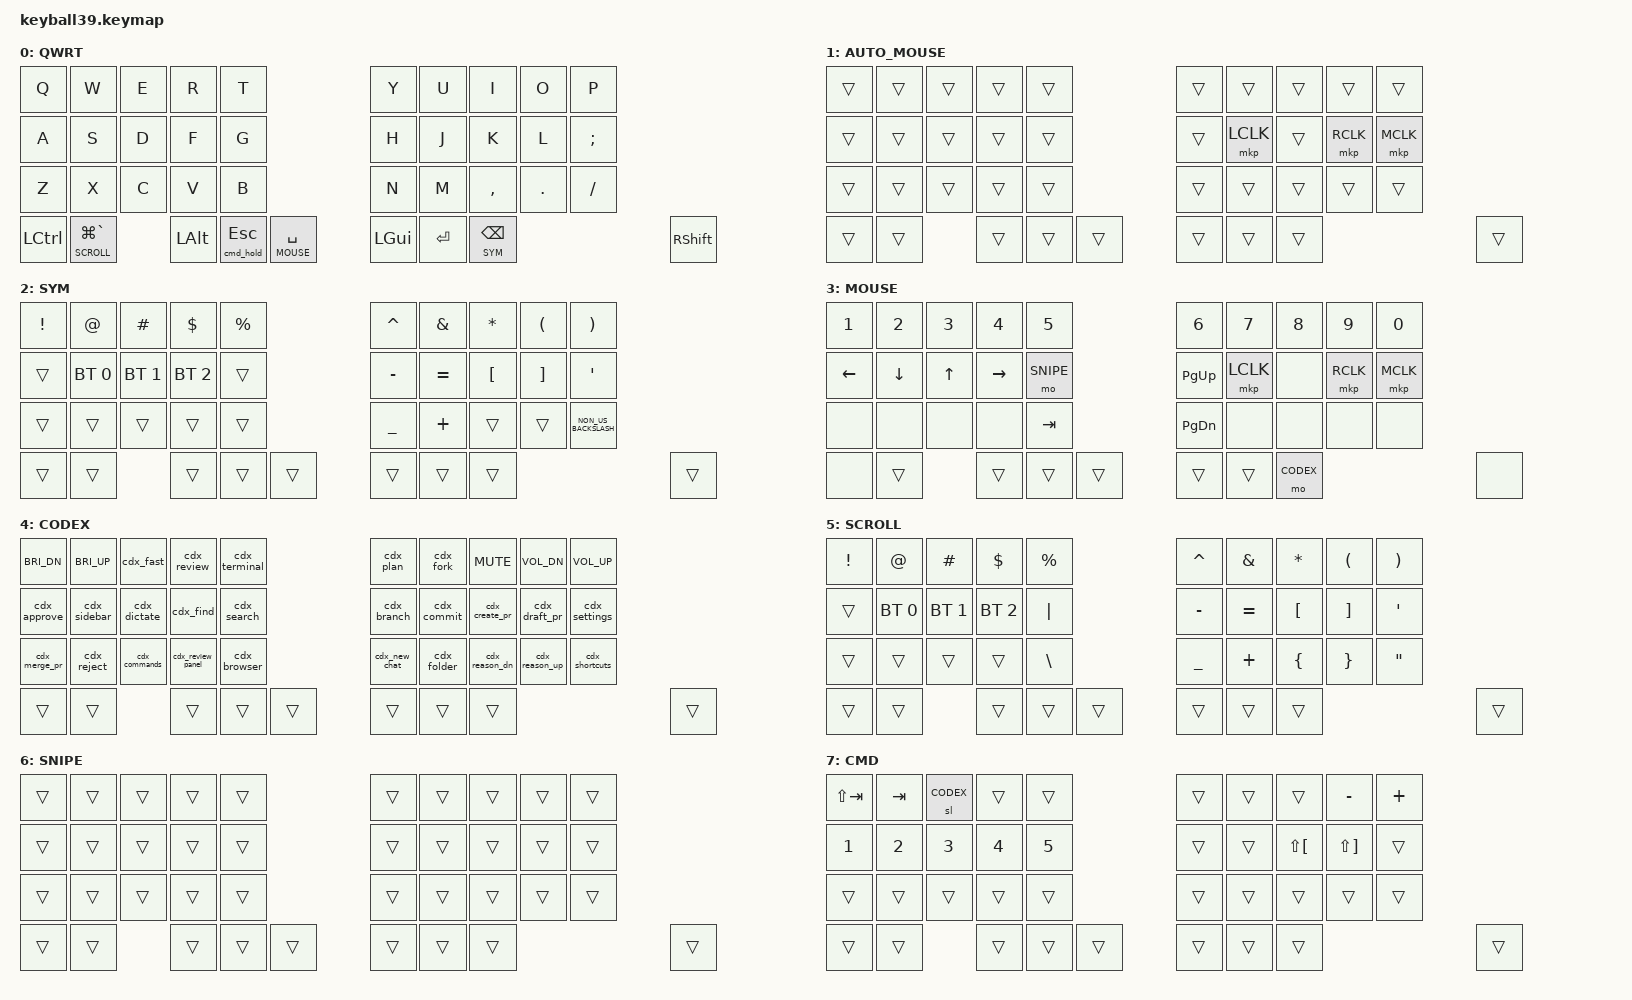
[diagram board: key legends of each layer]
#define DEFAULT 0
#define AUTO_MOUSE 1
#define SYM     2
#define MOUSE   3
#define CODEX   4
#define SCROLL  5
#define SNIPE   6
#define CMD     7

#include <behaviors/mouse_keys.dtsi>
#include <dt-bindings/zmk/mouse.h>
#include <behaviors.dtsi>
#include <dt-bindings/zmk/bt.h>
#include <dt-bindings/zmk/keys.h>

&lt {
    tapping-term-ms = <240>;
    flavor = "balanced";
    quick-tap-ms = <150>;
};

&mt {
    tapping-term-ms = <200>;
    flavor = "tap-preferred";
    quick-tap-ms = <150>;
};

&caps_word { continue-list = <UNDERSCORE MINUS>; };

/ {
    // custom shift using mod-morph 

    behaviors {
        cmqus: comma_question {
            compatible = "zmk,behavior-mod-morph";
            label = "COMMA_QUESTION";
            #binding-cells = <0>;
            bindings = <&kp COMMA>, <&kp QUESTION>;

            mods = <(MOD_LSFT|MOD_RSFT)>;
        };

        dtsmi: dot_semi {
            compatible = "zmk,behavior-mod-morph";
            label = "DOT_SEMI";
            #binding-cells = <0>;
            bindings = <&kp DOT>, <&kp SEMI>;

            mods = <(MOD_LSFT|MOD_RSFT)>;
        };

        cmd_esc: cmd_escape {
            compatible = "zmk,behavior-hold-tap";
            #binding-cells = <2>;
            flavor = "hold-preferred";
            tapping-term-ms = <200>;
            quick-tap-ms = <150>;
            bindings = <&cmd_hold>, <&kp>;
        };
    };

    macros {
        cmd_hold: cmd_hold {
            compatible = "zmk,behavior-macro";
            #binding-cells = <0>;
            wait-ms = <0>;
            tap-ms = <0>;
            bindings
                = <&macro_press &mo CMD &kp LGUI>
                , <&macro_pause_for_release>
                , <&macro_release &kp LGUI &mo CMD>
                ;
            label = "Hold CMD";
        };

        Hiragana: Hiragana {
            compatible = "zmk,behavior-macro";
            #binding-cells = <0>;
            bindings = <&kp LC(SPACE)>;
            label = "HIRAGANA";
        };

        cdx_fast: codex_fast { compatible = "zmk,behavior-macro"; #binding-cells = <0>; bindings = <&kp LC(LA(LG(F)))>; label = "Fast"; };
        cdx_review: codex_review { compatible = "zmk,behavior-macro"; #binding-cells = <0>; bindings = <&kp LC(LS(G))>; label = "Review"; };
        cdx_terminal: codex_terminal { compatible = "zmk,behavior-macro"; #binding-cells = <0>; bindings = <&kp LC(GRAVE)>; label = "Terminal"; };
        cdx_plan: codex_plan { compatible = "zmk,behavior-macro"; #binding-cells = <0>; bindings = <&kp LC(LA(LG(P)))>; label = "Plan"; };
        cdx_fork: codex_fork { compatible = "zmk,behavior-macro"; #binding-cells = <0>; bindings = <&kp LC(LA(LG(K)))>; label = "Fork"; };
        cdx_approve: codex_approve { compatible = "zmk,behavior-macro"; #binding-cells = <0>; bindings = <&kp ENTER>; label = "Approve"; };
        cdx_sidebar: codex_sidebar { compatible = "zmk,behavior-macro"; #binding-cells = <0>; bindings = <&kp LG(B)>; label = "Sidebar"; };
        cdx_dictate: codex_dictate { compatible = "zmk,behavior-macro"; #binding-cells = <0>; bindings = <&kp LC(LS(D))>; label = "Dictate"; };
        cdx_find: codex_find { compatible = "zmk,behavior-macro"; #binding-cells = <0>; bindings = <&kp LG(F)>; label = "Find"; };
        cdx_search: codex_search { compatible = "zmk,behavior-macro"; #binding-cells = <0>; bindings = <&kp LG(G)>; label = "Search"; };
        cdx_branch: codex_branch { compatible = "zmk,behavior-macro"; #binding-cells = <0>; bindings = <&kp LC(LA(LG(B)))>; label = "Branch"; };
        cdx_commit: codex_commit { compatible = "zmk,behavior-macro"; #binding-cells = <0>; bindings = <&kp LC(LA(LG(C)))>; label = "Commit"; };
        cdx_create_pr: codex_create_pr { compatible = "zmk,behavior-macro"; #binding-cells = <0>; bindings = <&kp LC(LA(LG(R)))>; label = "Create PR"; };
        cdx_draft_pr: codex_draft_pr { compatible = "zmk,behavior-macro"; #binding-cells = <0>; bindings = <&kp LC(LA(LG(D)))>; label = "Draft PR"; };
        cdx_settings: codex_settings { compatible = "zmk,behavior-macro"; #binding-cells = <0>; bindings = <&kp LG(COMMA)>; label = "Settings"; };
        cdx_merge_pr: codex_merge_pr { compatible = "zmk,behavior-macro"; #binding-cells = <0>; bindings = <&kp LC(LA(LG(M)))>; label = "Merge PR"; };
        cdx_reject: codex_reject { compatible = "zmk,behavior-macro"; #binding-cells = <0>; bindings = <&kp ESCAPE>; label = "Reject"; };
        cdx_commands: codex_commands { compatible = "zmk,behavior-macro"; #binding-cells = <0>; bindings = <&kp LG(LS(P))>; label = "Commands"; };
        cdx_review_panel: codex_review_panel { compatible = "zmk,behavior-macro"; #binding-cells = <0>; bindings = <&kp LG(LA(B))>; label = "Review Panel"; };
        cdx_browser: codex_browser { compatible = "zmk,behavior-macro"; #binding-cells = <0>; bindings = <&kp LG(T)>; label = "Browser"; };
        cdx_new_chat: codex_new_chat { compatible = "zmk,behavior-macro"; #binding-cells = <0>; bindings = <&kp LG(N)>; label = "New Chat"; };
        cdx_folder: codex_folder { compatible = "zmk,behavior-macro"; #binding-cells = <0>; bindings = <&kp LG(O)>; label = "Folder"; };
        cdx_reason_dn: codex_reason_dn { compatible = "zmk,behavior-macro"; #binding-cells = <0>; bindings = <&kp LC(LA(LG(MINUS)))>; label = "Reason Down"; };
        cdx_reason_up: codex_reason_up { compatible = "zmk,behavior-macro"; #binding-cells = <0>; bindings = <&kp LC(LA(LG(EQUAL)))>; label = "Reason Up"; };
        cdx_shortcuts: codex_shortcuts { compatible = "zmk,behavior-macro"; #binding-cells = <0>; bindings = <&kp LG(LS(SLASH))>; label = "Shortcuts"; };
    };

    combos {
        compatible = "zmk,combos";

        snipe_bootloader {
            timeout-ms = <75>;
            key-positions = <0 1>;
            layers = <SNIPE>;
            bindings = <&bootloader>;
        };

        sym_bluetooth_clear {
            timeout-ms = <75>;
            key-positions = <0 1>;
            layers = <SYM>;
            bindings = <&bt BT_CLR>;
        };

    };

    keymap {
        compatible = "zmk,keymap";

        default_layer {
            label = "QWRT";
            bindings = <
&kp Q      &kp W         &kp E     &kp R         &kp T                                    &kp Y            &kp U  &kp I      &kp O    &kp P
&kp A      &kp S         &kp D     &kp F         &kp G                                    &kp H            &kp J  &kp K      &kp L    &kp SEMI
&kp Z      &kp X         &kp C     &kp V         &kp B                                    &kp N            &kp M  &kp COMMA  &kp DOT  &kp SLASH
&kp LCTRL  &lt SCROLL LG(GRAVE)  &kp LALT       &cmd_esc 0 ESCAPE  &lt MOUSE SPACE  &kp LGUI  &kp ENTER  &lt SYM BACKSPACE                             &kp RSHFT
            >;
        };

        auto_mouse_layer {
            label = "AUTO_MOUSE";
            bindings = <
&trans  &trans  &trans  &trans  &trans                  &trans  &trans     &trans  &trans     &trans
&trans  &trans  &trans  &trans  &trans                  &trans  &mkp LCLK  &trans  &mkp RCLK  &mkp MCLK
&trans  &trans  &trans  &trans  &trans                  &trans  &trans     &trans  &trans     &trans
&trans  &trans  &trans  &trans  &trans  &trans  &trans  &trans                         &trans
            >;
        };

        symbol_layer {
            label = "SYM";
            bindings = <
&kp EXCLAMATION  &kp AT_SIGN   &kp HASH      &kp DOLLAR    &kp PERCENT                  &kp CARET       &kp AMPERSAND  &kp ASTERISK      &kp LEFT_PARENTHESIS  &kp RIGHT_PARENTHESIS
&trans           &bt BT_SEL 0  &bt BT_SEL 1  &bt BT_SEL 2  &trans                       &kp MINUS       &kp EQUAL      &kp LEFT_BRACKET  &kp RIGHT_BRACKET     &kp SQT
&trans           &trans        &trans        &trans        &trans                       &kp UNDERSCORE  &kp PLUS       &trans            &trans                &kp NON_US_BACKSLASH
&trans           &trans        &trans        &trans        &trans       &trans  &trans  &trans                                                                 &trans
            >;
        };

        mouse_layer {
            label = "MOUSE";
            bindings = <
&kp N1          &kp N2          &kp N3        &kp N4     &kp N5                  &kp N6         &kp N7     &kp N8  &kp N9     &kp N0
&kp LEFT_ARROW  &kp DOWN_ARROW  &kp UP_ARROW  &kp RIGHT  &mo SNIPE               &kp PAGE_UP    &mkp LCLK  &none   &mkp RCLK  &mkp MCLK
&none           &none           &none         &none      &kp TAB                 &kp PAGE_DOWN  &none      &none   &none      &none
&none           &trans          &trans        &trans     &trans  &trans  &trans  &mo CODEX                                    &none
            >;
        };

        codex_layer {
            label = "CODEX";
            bindings = <
&kp C_BRI_DN     &kp C_BRI_UP     &cdx_fast      &cdx_review        &cdx_terminal                  &cdx_plan      &cdx_fork       &kp C_MUTE        &kp C_VOL_DN     &kp C_VOL_UP
&cdx_approve     &cdx_sidebar     &cdx_dictate   &cdx_find          &cdx_search                    &cdx_branch    &cdx_commit     &cdx_create_pr   &cdx_draft_pr   &cdx_settings
&cdx_merge_pr    &cdx_reject      &cdx_commands  &cdx_review_panel  &cdx_browser                   &cdx_new_chat  &cdx_folder     &cdx_reason_dn   &cdx_reason_up  &cdx_shortcuts
&trans            &trans            &trans            &trans                &trans          &trans  &trans  &trans                                             &trans
            >;
        };

        scroll_layer {
            label = "SCROLL";
            bindings = <
&kp EXCLAMATION  &kp AT_SIGN   &kp HASH      &kp DOLLAR    &kp PERCENT                     &kp CARET       &kp AMPERSAND  &kp ASTERISK      &kp LEFT_PARENTHESIS  &kp RIGHT_PARENTHESIS
&trans           &bt BT_SEL 0  &bt BT_SEL 1  &bt BT_SEL 2  &kp PIPE                        &kp MINUS       &kp EQUAL      &kp LEFT_BRACKET  &kp RIGHT_BRACKET     &kp SQT
&trans           &trans        &trans        &trans        &kp BACKSLASH                   &kp UNDERSCORE  &kp PLUS       &kp LEFT_BRACE    &kp RIGHT_BRACE       &kp DQT
&trans           &trans        &trans        &trans        &trans          &trans  &trans  &trans                                                             &trans
            >;
        };

        snipe_layer {
            label = "SNIPE";
            bindings = <
&trans  &trans  &trans  &trans  &trans                       &trans  &trans  &trans  &trans  &trans
&trans  &trans  &trans  &trans  &trans                       &trans  &trans  &trans  &trans  &trans
&trans  &trans  &trans  &trans  &trans                       &trans  &trans  &trans  &trans  &trans
&trans  &trans  &trans  &trans  &trans       &trans  &trans  &trans                          &trans
            >;
        };

        cmd_layer {
            label = "CMD";
            bindings = <
&kp LS(TAB)  &kp TAB  &sl CODEX  &trans  &trans                  &trans  &trans  &trans                  &kp MINUS              &kp PLUS
&kp N1       &kp N2   &kp N3     &kp N4  &kp N5                  &trans  &trans  &kp LS(LEFT_BRACKET)  &kp LS(RIGHT_BRACKET)  &trans
&trans       &trans   &trans     &trans  &trans                  &trans  &trans  &trans  &trans  &trans
&trans       &trans   &trans     &trans  &trans  &trans  &trans  &trans                          &trans
            >;
        };
    };
};
